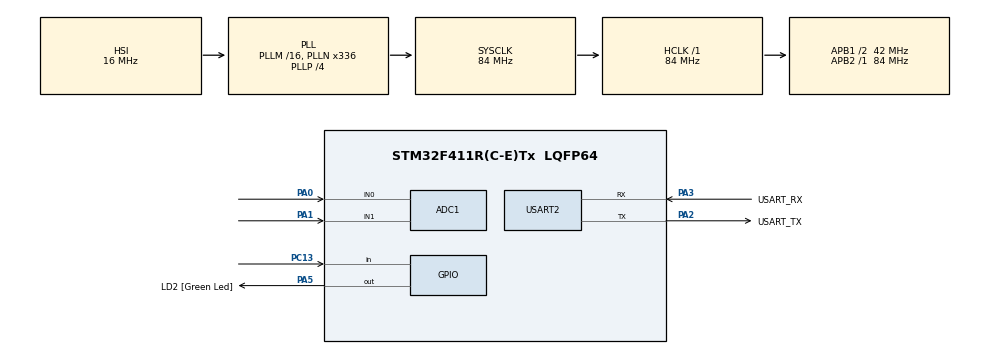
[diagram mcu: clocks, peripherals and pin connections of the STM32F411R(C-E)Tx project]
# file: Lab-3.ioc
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ADC1.Channel-0\#ChannelRegularConversion=ADC_CHANNEL_0
ADC1.NbrOfConversionFlag=1
ADC1.Rank-0\#ChannelRegularConversion=1
ADC1.SamplingTime-0\#ChannelRegularConversion=ADC_SAMPLETIME_3CYCLES
ADC1.master=1
Mcu.Family=STM32F4
Mcu.Name=STM32F411R(C-E)Tx
Mcu.Package=LQFP64
NVIC.PriorityGroup=NVIC_PRIORITYGROUP_0
PA0-WKUP.Signal=ADCx_IN0
PA1.Signal=ADCx_IN1
PA13.GPIO_Label=TMS
PA13.Mode=Serial_Wire
PA13.Signal=SYS_JTMS-SWDIO
PA14.GPIO_Label=TCK
PA14.Mode=Serial_Wire
PA14.Signal=SYS_JTCK-SWCLK
PA2.GPIO_Label=USART_TX
PA2.Mode=Asynchronous
PA2.Signal=USART2_TX
PA3.GPIO_Label=USART_RX
PA3.Mode=Asynchronous
PA3.Signal=USART2_RX
PA5.GPIO_Label=LD2 [Green Led]
PA5.Signal=GPIO_Output
PB3.GPIO_Label=SWO
PB3.Signal=SYS_JTDO-SWO
PC13-ANTI_TAMP.Signal=GPIO_Input
PC14-OSC32_IN.Mode=LSE-External-Oscillator
PC14-OSC32_IN.Signal=RCC_OSC32_IN
PC15-OSC32_OUT.Mode=LSE-External-Oscillator
PC15-OSC32_OUT.Signal=RCC_OSC32_OUT
PH0\ -\ OSC_IN.Mode=HSE-External-Clock-Source
PH0\ -\ OSC_IN.Signal=RCC_OSC_IN
PH1\ -\ OSC_OUT.Mode=HSE-External-Clock-Source
PH1\ -\ OSC_OUT.Signal=RCC_OSC_OUT
ProjectManager.HeapSize=0x200
ProjectManager.StackSize=0x400
ProjectManager.TargetToolchain=STM32CubeIDE
RCC.48MHZClocksFreq_Value=84000000
RCC.AHBFreq_Value=84000000
RCC.APB1CLKDivider=RCC_HCLK_DIV2
RCC.APB1Freq_Value=42000000
RCC.APB1TimFreq_Value=84000000
RCC.APB2Freq_Value=84000000
RCC.APB2TimFreq_Value=84000000
RCC.CortexFreq_Value=84000000
RCC.FLatency-AdvancedSettings=FLASH_LATENCY_2
RCC.HCLKFreq_Value=84000000
RCC.HSE_VALUE=8000000
RCC.HSI_VALUE=16000000
RCC.PLLN=336
RCC.PLLP=RCC_PLLP_DIV4
RCC.SYSCLKFreq_VALUE=84000000
RCC.SYSCLKSource=RCC_SYSCLKSOURCE_PLLCLK
RCC.VCOOutputFreq_Value=336000000
SH.ADCx_IN0.0=ADC1_IN0,IN0
SH.ADCx_IN1.0=ADC1_IN1,IN1
USART2.VirtualMode=VM_ASYNC
VP_ADC1_TempSens_Input.Mode=IN-TempSens
board=NUCLEO-F411RE

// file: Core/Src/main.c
/* USER CODE BEGIN Header */
/**
  ******************************************************************************
  * @file           : main.c
  * @brief          : Main program body
  ******************************************************************************
  * @attention
  *
  * <h2><center>&copy; Copyright (c) 2021 STMicroelectronics.
  * All rights reserved.</center></h2>
  *
  * This software component is licensed by ST under BSD 3-Clause license,
  * the "License"; You may not use this file except in compliance with the
  * License. You may obtain a copy of the License at:
  *                        opensource.org/licenses/BSD-3-Clause
  *
  ******************************************************************************
  */
/* USER CODE END Header */
#include "main.h"

ADC_HandleTypeDef hadc1;

UART_HandleTypeDef huart2;

/* USER CODE BEGIN PV */
typedef struct
{
	ADC_ChannelConfTypeDef Config;
	uint32_t Data;
}ADCStructure;

ADCStructure ADCChannel[2] = {0};

uint32_t ADCOutputConverted = 0;
uint8_t	 ADCMode = 0;
float 	 Calculate = 0;
/* USER CODE END PV */

void SystemClock_Config(void);
static void MX_GPIO_Init(void);
static void MX_USART2_UART_Init(void);
static void MX_ADC1_Init(void);
/* USER CODE BEGIN PFP */
void ADCPollingInit();		//Init Config of 3 ADc
void ADCPollingUpdate(); 	//Read ADC from 3 sources (In0, In1, Temp)
/* USER CODE END PFP */

int main(void)
{

  /* MCU Configuration--------------------------------------------------------*/

  /* Reset of all peripherals, Initializes the Flash interface and the Systick. */
  HAL_Init();

  /* Configure the system clock */
  SystemClock_Config();

  /* Initialize all configured peripherals */
  MX_GPIO_Init();
  MX_USART2_UART_Init();
  MX_ADC1_Init();
  /* USER CODE BEGIN 2 */
  //---------------------------------------------------------------------------
  ADCPollingInit();
  GPIO_PinState SwitchState[2]; 	//Now, Previous
  uint32_t SampleTimeStamp = 0;
  //---------------------------------------------------------------------------
  /* USER CODE END 2 */

  /* Infinite loop */
  /* USER CODE BEGIN WHILE */
  /////////////////////////////////////////////////////////////////////////////////

  while (1)
  {
	  ADCPollingUpdate();

	  if(ADCMode == 0)
	  {
		  ADCOutputConverted = ADCChannel[0].Data * 3300 / 4096;
	  }

	  else
	  {
		  Calculate = (ADCChannel[1].Data * 3.3 / 4096 - 0.76) * 400;
		  ADCOutputConverted = Calculate + 25;
	  }

	  if(HAL_GetTick() - SampleTimeStamp >= 100)
	  {
		  SampleTimeStamp = HAL_GetTick();

		  SwitchState[0] = HAL_GPIO_ReadPin(GPIOC, GPIO_PIN_13);

		  if(SwitchState[0] == GPIO_PIN_SET && SwitchState[1] == GPIO_PIN_RESET)  // SET = no , RESET = press
		  {
			  if(ADCMode == 0)
			  {
				  ADCMode = 1;
			  }
			  else
			  {
				  ADCMode = 0;;
			  }
		  }
		  SwitchState[1] = SwitchState[0];
	  }

  /////////////////////////////////////////////////////////////////////////////////
    /* USER CODE END WHILE */

  }
}

void SystemClock_Config(void)
{
  RCC_OscInitTypeDef RCC_OscInitStruct = {0};
  RCC_ClkInitTypeDef RCC_ClkInitStruct = {0};

  /** Configure the main internal regulator output voltage
  */
  __HAL_RCC_PWR_CLK_ENABLE();
  __HAL_PWR_VOLTAGESCALING_CONFIG(PWR_REGULATOR_VOLTAGE_SCALE1);
  /** Initializes the RCC Oscillators according to the specified parameters
  * in the RCC_OscInitTypeDef structure.
  */
  RCC_OscInitStruct.OscillatorType = RCC_OSCILLATORTYPE_HSI;
  RCC_OscInitStruct.HSIState = RCC_HSI_ON;
  RCC_OscInitStruct.HSICalibrationValue = RCC_HSICALIBRATION_DEFAULT;
  RCC_OscInitStruct.PLL.PLLState = RCC_PLL_ON;
  RCC_OscInitStruct.PLL.PLLSource = RCC_PLLSOURCE_HSI;
  RCC_OscInitStruct.PLL.PLLM = 16;
  RCC_OscInitStruct.PLL.PLLN = 336;
  RCC_OscInitStruct.PLL.PLLP = RCC_PLLP_DIV4;
  RCC_OscInitStruct.PLL.PLLQ = 4;
  if (HAL_RCC_OscConfig(&RCC_OscInitStruct) != HAL_OK)
  {
    Error_Handler();
  }
  /** Initializes the CPU, AHB and APB buses clocks
  */
  RCC_ClkInitStruct.ClockType = RCC_CLOCKTYPE_HCLK|RCC_CLOCKTYPE_SYSCLK
                              |RCC_CLOCKTYPE_PCLK1|RCC_CLOCKTYPE_PCLK2;
  RCC_ClkInitStruct.SYSCLKSource = RCC_SYSCLKSOURCE_PLLCLK;
  RCC_ClkInitStruct.AHBCLKDivider = RCC_SYSCLK_DIV1;
  RCC_ClkInitStruct.APB1CLKDivider = RCC_HCLK_DIV2;
  RCC_ClkInitStruct.APB2CLKDivider = RCC_HCLK_DIV1;

  if (HAL_RCC_ClockConfig(&RCC_ClkInitStruct, FLASH_LATENCY_2) != HAL_OK)
  {
    Error_Handler();
  }
}

static void MX_ADC1_Init(void)
{

  ADC_ChannelConfTypeDef sConfig = {0};

  /** Configure the global features of the ADC (Clock, Resolution, Data Alignment and number of conversion)
  */
  hadc1.Instance = ADC1;
  hadc1.Init.ClockPrescaler = ADC_CLOCK_SYNC_PCLK_DIV4;
  hadc1.Init.Resolution = ADC_RESOLUTION_12B;
  hadc1.Init.ScanConvMode = DISABLE;
  hadc1.Init.ContinuousConvMode = DISABLE;
  hadc1.Init.DiscontinuousConvMode = DISABLE;
  hadc1.Init.ExternalTrigConvEdge = ADC_EXTERNALTRIGCONVEDGE_NONE;
  hadc1.Init.ExternalTrigConv = ADC_SOFTWARE_START;
  hadc1.Init.DataAlign = ADC_DATAALIGN_RIGHT;
  hadc1.Init.NbrOfConversion = 1;
  hadc1.Init.DMAContinuousRequests = DISABLE;
  hadc1.Init.EOCSelection = ADC_EOC_SINGLE_CONV;
  if (HAL_ADC_Init(&hadc1) != HAL_OK)
  {
    Error_Handler();
  }
  /** Configure for the selected ADC regular channel its corresponding rank in the sequencer and its sample time.
  */
  sConfig.Channel = ADC_CHANNEL_0;
  sConfig.Rank = 1;
  sConfig.SamplingTime = ADC_SAMPLETIME_3CYCLES;
  if (HAL_ADC_ConfigChannel(&hadc1, &sConfig) != HAL_OK)
  {
    Error_Handler();
  }

}

static void MX_USART2_UART_Init(void)
{

  huart2.Instance = USART2;
  huart2.Init.BaudRate = 115200;
  huart2.Init.WordLength = UART_WORDLENGTH_8B;
  huart2.Init.StopBits = UART_STOPBITS_1;
  huart2.Init.Parity = UART_PARITY_NONE;
  huart2.Init.Mode = UART_MODE_TX_RX;
  huart2.Init.HwFlowCtl = UART_HWCONTROL_NONE;
  huart2.Init.OverSampling = UART_OVERSAMPLING_16;
  if (HAL_UART_Init(&huart2) != HAL_OK)
  {
    Error_Handler();
  }

}

static void MX_GPIO_Init(void)
{
  GPIO_InitTypeDef GPIO_InitStruct = {0};

  /* GPIO Ports Clock Enable */
  __HAL_RCC_GPIOC_CLK_ENABLE();
  __HAL_RCC_GPIOH_CLK_ENABLE();
  __HAL_RCC_GPIOA_CLK_ENABLE();
  __HAL_RCC_GPIOB_CLK_ENABLE();

  /*Configure GPIO pin Output Level */
  HAL_GPIO_WritePin(LD2_GPIO_Port, LD2_Pin, GPIO_PIN_RESET);

  /*Configure GPIO pin : PC13 */
  GPIO_InitStruct.Pin = GPIO_PIN_13;
  GPIO_InitStruct.Mode = GPIO_MODE_INPUT;
  GPIO_InitStruct.Pull = GPIO_NOPULL;
  HAL_GPIO_Init(GPIOC, &GPIO_InitStruct);

  /*Configure GPIO pin : LD2_Pin */
  GPIO_InitStruct.Pin = LD2_Pin;
  GPIO_InitStruct.Mode = GPIO_MODE_OUTPUT_PP;
  GPIO_InitStruct.Pull = GPIO_NOPULL;
  GPIO_InitStruct.Speed = GPIO_SPEED_FREQ_LOW;
  HAL_GPIO_Init(LD2_GPIO_Port, &GPIO_InitStruct);

}

/* USER CODE BEGIN 4 */
/////////////////////////////////////////////////////////////////////////////////

void ADCPollingInit()
{
	//PA0 - ADC IN0
	ADCChannel[0].Config.Channel = ADC_CHANNEL_0;
	ADCChannel[0].Config.Rank = 1;
	ADCChannel[0].Config.SamplingTime = ADC_SAMPLETIME_3CYCLES;

	//Temp
	ADCChannel[1].Config.Channel = ADC_CHANNEL_TEMPSENSOR;
	ADCChannel[1].Config.Rank = 1;
	ADCChannel[1].Config.SamplingTime = ADC_SAMPLETIME_3CYCLES;
}

void ADCPollingUpdate()
{
	//Select Channel
	HAL_ADC_ConfigChannel(&hadc1, &ADCChannel[ADCMode].Config);

	//ADC Sampling , Convert
	HAL_ADC_Start(&hadc1);

	//Wait ADC
	if(HAL_ADC_PollForConversion(&hadc1, 10) == HAL_OK) //ms
	{
		//Get Value
		ADCChannel[ADCMode].Data = HAL_ADC_GetValue(&hadc1);
	}

	//Stop
	HAL_ADC_Stop(&hadc1);
}

/////////////////////////////////////////////////////////////////////////////////
/* USER CODE END 4 */

void Error_Handler(void)
{
  __disable_irq();
  while (1)
  {
  }
}

/************************ (C) COPYRIGHT STMicroelectronics *****END OF FILE****/
